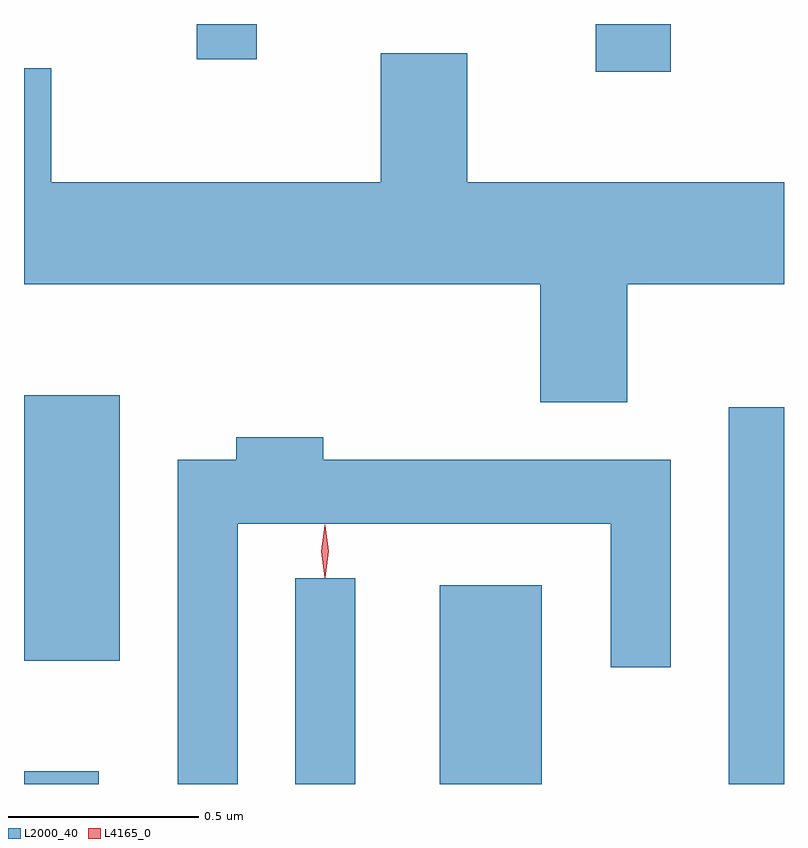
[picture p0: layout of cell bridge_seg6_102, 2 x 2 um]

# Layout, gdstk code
import gdstk
lib = gdstk.Library(unit=1e-6, precision=1e-09)
def R(c, l, rs):  # rectangles x0, y0, x1, y1
    for r in rs: c.add(gdstk.rectangle(r[:2], r[2:], *l))
def P(c, l, *ps):  # polygons
    for p in ps: c.add(gdstk.Polygon(p, *l))
L2000_40 = (2000, 40)
L4165_0 = (4165, 0)

bridge_seg6_102 = lib.new_cell('bridge_seg6_102')
R(bridge_seg6_102, L2000_40, [(1054.432,1617.541,1054.629,1617.574), (1055.146,1617.541,1055.304,1618.083), (1055.526,1617.541,1055.794,1618.064), (1056.286,1617.541,1056.432,1618.533), (1054.432,1617.866,1054.684,1618.564), (1055.936,1619.416,1056.134,1619.541), (1054.886,1619.448,1055.044,1619.541)])
P(bridge_seg6_102, L2000_40, [(1055.599,1619.464),(1055.371,1619.464),(1055.371,1619.124),(1054.504,1619.124),(1054.504,1619.424),(1054.432,1619.424),(1054.432,1618.856),(1055.791,1618.856),(1055.791,1618.546),(1056.019,1618.546),(1056.019,1618.856),(1056.432,1618.856),(1056.432,1619.124),(1055.599,1619.124)],
  [(1054.994,1618.226),(1055.976,1618.226),(1055.976,1617.848),(1056.134,1617.848),(1056.134,1618.394),(1055.219,1618.394),(1055.219,1618.454),(1054.991,1618.454),(1054.991,1618.394),(1054.836,1618.394),(1054.836,1617.541),(1054.994,1617.541)])
P(bridge_seg6_102, L4165_0, [(1055.224,1618.084),(1055.224,1618.084),(1055.214,1618.153),(1055.224,1618.222),(1055.224,1618.223),(1055.225,1618.222),(1055.234,1618.153),(1055.225,1618.084)])

lib.write_gds('bridge_seg6_102.gds')
